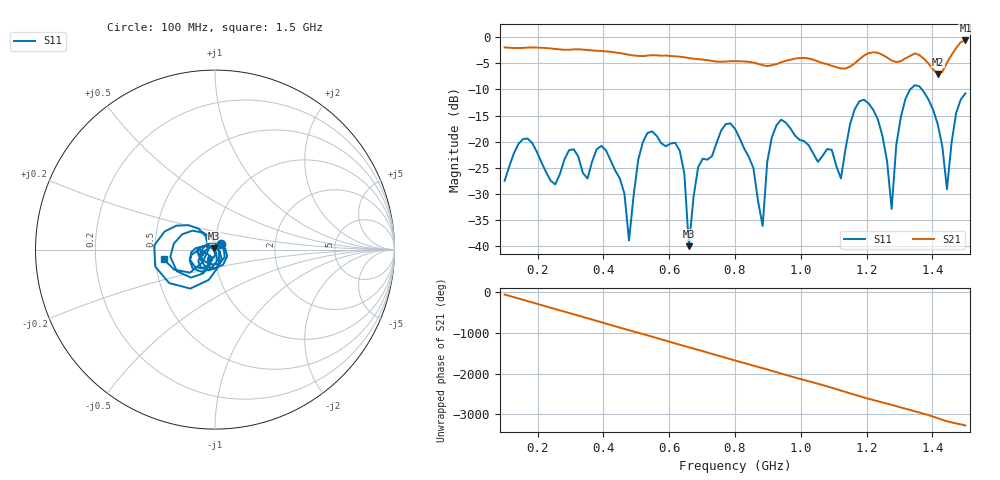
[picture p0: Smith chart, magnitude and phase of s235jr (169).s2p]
! NanoVNA-App
! Date: 2025-09-25 15:05:29
! Start: 100MHz Stop: 1,5GHz Points: 101
! S-Parameter data: F S11 S21 S12 S22
# Hz S RI R 50
!  Frequency  S11_Real  S11_Imag  S21_Real  S21_Imag  S12_Real  S12_Imag  S22_Real  S22_Imag
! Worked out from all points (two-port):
!   101 points, 100 MHz to 1.5 GHz, reference 50 ohm
!   highest |S21| = -0.64 dB at 1.5 GHz (marker M1); lowest = -7.0 dB at 1.416 GHz (marker M2)
!   |S21| within 3 dB of the highest: start of sweep to 610.3 MHz; 1.19 GHz to 1.255 GHz (65.24 MHz wide, 5.34 % of centre) (the widest 2 of 4)
!   lowest |S11| = -40.0 dB at 660 MHz (marker M3), VSWR 1.02, Z = 49.2 + j0.633 ohm
!   |S11| at or under -10 dB: start of sweep to 1.332 GHz; 1.368 GHz to end of sweep
!   S12 and S22 are empty: the file has one direction only
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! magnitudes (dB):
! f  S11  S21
! 100 MHz  -27.5  -2.0
! 170 MHz  -19.4  -2.0
! 338 MHz  -26.0  -2.4
! 408 MHz  -21.6  -2.7
! 478 MHz  -38.9  -3.4
! 520 MHz  -20.1  -3.6
! 576 MHz  -20.3  -3.5
! 632 MHz  -21.7  -3.7
! 660 MHz  -40.0  -4.0
! 688 MHz  -24.9  -4.2
! 800 MHz  -17.5  -4.6
! 884 MHz  -36.1  -5.4
! 926 MHz  -16.9  -5.2
! 1.038 GHz  -22.3  -4.3
! 1.122 GHz  -27.0  -6.0
! 1.192 GHz  -12.0  -3.5
! 1.248 GHz  -18.9  -3.4
! 1.276 GHz  -32.8  -4.5
! 1.332 GHz  -10.0  -3.6
! 1.416 GHz  -16.6  -7.0
! 1.444 GHz  -29.1  -4.9
! 1.5 GHz  -10.7  -0.6
